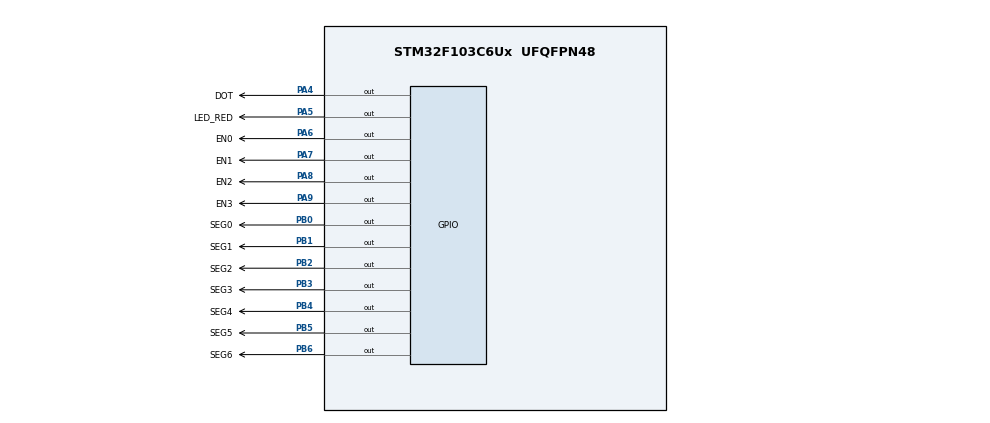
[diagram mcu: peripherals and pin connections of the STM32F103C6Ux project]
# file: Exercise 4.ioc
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Mcu.Family=STM32F1
Mcu.Name=STM32F103C6Ux
Mcu.Package=UFQFPN48
NVIC.PriorityGroup=NVIC_PRIORITYGROUP_4
NVIC.TIM2_IRQn=true\:0\:0\:false\:false\:true\:true\:true
PA4.GPIO_Label=DOT
PA4.Signal=GPIO_Output
PA5.GPIO_Label=LED_RED
PA5.Signal=GPIO_Output
PA6.GPIO_Label=EN0
PA6.Signal=GPIO_Output
PA7.GPIO_Label=EN1
PA7.Signal=GPIO_Output
PA8.GPIO_Label=EN2
PA8.Signal=GPIO_Output
PA9.GPIO_Label=EN3
PA9.Signal=GPIO_Output
PB0.GPIO_Label=SEG0
PB0.Signal=GPIO_Output
PB1.GPIO_Label=SEG1
PB1.Signal=GPIO_Output
PB2.GPIO_Label=SEG2
PB2.Signal=GPIO_Output
PB3.GPIO_Label=SEG3
PB3.Signal=GPIO_Output
PB4.GPIO_Label=SEG4
PB4.Signal=GPIO_Output
PB5.GPIO_Label=SEG5
PB5.Signal=GPIO_Output
PB6.GPIO_Label=SEG6
PB6.Signal=GPIO_Output
ProjectManager.HeapSize=0x200
ProjectManager.StackSize=0x400
ProjectManager.TargetToolchain=STM32CubeIDE
RCC.APB1Freq_Value=8000000
RCC.APB2Freq_Value=8000000
TIM2.Prescaler=7999
VP_SYS_VS_ND.Mode=No_Debug
VP_TIM2_VS_ClockSourceINT.Mode=Internal
board=custom

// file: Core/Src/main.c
/* USER CODE BEGIN Header */
/**
  ******************************************************************************
  * @file           : main.c
  * @brief          : Main program body
  ******************************************************************************
  * @attention
  *
  * <h2><center>&copy; Copyright (c) 2024 STMicroelectronics.
  * All rights reserved.</center></h2>
  *
  * This software component is licensed by ST under BSD 3-Clause license,
  * the "License"; You may not use this file except in compliance with the
  * License. You may obtain a copy of the License at:
  *                        opensource.org/licenses/BSD-3-Clause
  *
  ******************************************************************************
  */
/* USER CODE END Header */
#include "main.h"

TIM_HandleTypeDef htim2;

void SystemClock_Config(void);
static void MX_GPIO_Init(void);
static void MX_TIM2_Init(void);

void display7SEG(int num)
{
switch(num)
{
case 1:
	HAL_GPIO_WritePin(SEG0_GPIO_Port, SEG0_Pin, SET);
	HAL_GPIO_WritePin(SEG1_GPIO_Port, SEG1_Pin, RESET);
	HAL_GPIO_WritePin(SEG2_GPIO_Port, SEG2_Pin, RESET);
	HAL_GPIO_WritePin(SEG4_GPIO_Port, SEG4_Pin, SET);
	HAL_GPIO_WritePin(SEG5_GPIO_Port, SEG5_Pin, SET);
	HAL_GPIO_WritePin(SEG6_GPIO_Port, SEG6_Pin, SET);
	break;
case 2:
	HAL_GPIO_WritePin(SEG0_GPIO_Port, SEG0_Pin, RESET);
	HAL_GPIO_WritePin(SEG1_GPIO_Port, SEG1_Pin, RESET);
	HAL_GPIO_WritePin(SEG2_GPIO_Port, SEG2_Pin, SET);
	HAL_GPIO_WritePin(SEG3_GPIO_Port, SEG3_Pin, RESET);
	HAL_GPIO_WritePin(SEG4_GPIO_Port, SEG4_Pin, RESET);
	HAL_GPIO_WritePin(SEG5_GPIO_Port, SEG5_Pin, SET);
	HAL_GPIO_WritePin(SEG6_GPIO_Port, SEG6_Pin, RESET);
	break;
case 3:
	HAL_GPIO_WritePin(SEG0_GPIO_Port, SEG0_Pin, RESET);
	HAL_GPIO_WritePin(SEG1_GPIO_Port, SEG1_Pin, RESET);
	HAL_GPIO_WritePin(SEG2_GPIO_Port, SEG2_Pin, RESET);
	HAL_GPIO_WritePin(SEG3_GPIO_Port, SEG3_Pin, RESET);
	HAL_GPIO_WritePin(SEG4_GPIO_Port, SEG4_Pin, SET);
	HAL_GPIO_WritePin(SEG5_GPIO_Port, SEG5_Pin, SET);
	HAL_GPIO_WritePin(SEG6_GPIO_Port, SEG6_Pin, RESET);
	break;
case 4:
	HAL_GPIO_WritePin(SEG0_GPIO_Port, SEG0_Pin, SET);
	HAL_GPIO_WritePin(SEG1_GPIO_Port, SEG1_Pin, RESET);
	HAL_GPIO_WritePin(SEG2_GPIO_Port, SEG2_Pin, RESET);
	HAL_GPIO_WritePin(SEG3_GPIO_Port, SEG3_Pin, SET);
	HAL_GPIO_WritePin(SEG4_GPIO_Port, SEG4_Pin, SET);
	HAL_GPIO_WritePin(SEG5_GPIO_Port, SEG5_Pin, RESET);
	HAL_GPIO_WritePin(SEG6_GPIO_Port, SEG6_Pin, RESET);
	break;
}
}

const int MAX_LED = 4;
int led_buffer[4] = {1, 2, 3, 4};
void update7SEG(int num)
{
	switch(num)
	{
	case 0:
		HAL_GPIO_WritePin(EN0_GPIO_Port, EN0_Pin, RESET);
		HAL_GPIO_WritePin(EN1_GPIO_Port, EN1_Pin, SET);
		HAL_GPIO_WritePin(EN2_GPIO_Port, EN2_Pin, SET);
		HAL_GPIO_WritePin(EN3_GPIO_Port, EN3_Pin, SET);
		display7SEG(led_buffer[0]);
		break;
	case 1:
		HAL_GPIO_WritePin(EN0_GPIO_Port, EN0_Pin, SET);
		HAL_GPIO_WritePin(EN1_GPIO_Port, EN1_Pin, RESET);
		HAL_GPIO_WritePin(EN2_GPIO_Port, EN2_Pin, SET);
		HAL_GPIO_WritePin(EN3_GPIO_Port, EN3_Pin, SET);
		display7SEG(led_buffer[1]);
		break;
	case 2:
		HAL_GPIO_WritePin(EN0_GPIO_Port, EN0_Pin, SET);
		HAL_GPIO_WritePin(EN1_GPIO_Port, EN1_Pin, SET);
		HAL_GPIO_WritePin(EN2_GPIO_Port, EN2_Pin, RESET);
		HAL_GPIO_WritePin(EN3_GPIO_Port, EN3_Pin, SET);
		display7SEG(led_buffer[2]);
		break;
	case 3:
		HAL_GPIO_WritePin(EN0_GPIO_Port, EN0_Pin, SET);
		HAL_GPIO_WritePin(EN1_GPIO_Port, EN1_Pin, SET);
		HAL_GPIO_WritePin(EN2_GPIO_Port, EN2_Pin, SET);
		HAL_GPIO_WritePin(EN3_GPIO_Port, EN3_Pin, RESET);
		display7SEG(led_buffer[3]);
		break;
	default:
		break;
	}
}
int main(void)
{

  /* MCU Configuration--------------------------------------------------------*/

  /* Reset of all peripherals, Initializes the Flash interface and the Systick. */
  HAL_Init();

  /* Configure the system clock */
  SystemClock_Config();

  /* Initialize all configured peripherals */
  MX_GPIO_Init();
  MX_TIM2_Init();
  HAL_TIM_Base_Start_IT(&htim2);

  /* Infinite loop */
  while (1)
  {

  }
}

void SystemClock_Config(void)
{
  RCC_OscInitTypeDef RCC_OscInitStruct = {0};
  RCC_ClkInitTypeDef RCC_ClkInitStruct = {0};

  /** Initializes the RCC Oscillators according to the specified parameters
  * in the RCC_OscInitTypeDef structure.
  */
  RCC_OscInitStruct.OscillatorType = RCC_OSCILLATORTYPE_HSI;
  RCC_OscInitStruct.HSIState = RCC_HSI_ON;
  RCC_OscInitStruct.HSICalibrationValue = RCC_HSICALIBRATION_DEFAULT;
  RCC_OscInitStruct.PLL.PLLState = RCC_PLL_NONE;
  if (HAL_RCC_OscConfig(&RCC_OscInitStruct) != HAL_OK)
  {
    Error_Handler();
  }
  /** Initializes the CPU, AHB and APB buses clocks
  */
  RCC_ClkInitStruct.ClockType = RCC_CLOCKTYPE_HCLK|RCC_CLOCKTYPE_SYSCLK
                              |RCC_CLOCKTYPE_PCLK1|RCC_CLOCKTYPE_PCLK2;
  RCC_ClkInitStruct.SYSCLKSource = RCC_SYSCLKSOURCE_HSI;
  RCC_ClkInitStruct.AHBCLKDivider = RCC_SYSCLK_DIV1;
  RCC_ClkInitStruct.APB1CLKDivider = RCC_HCLK_DIV1;
  RCC_ClkInitStruct.APB2CLKDivider = RCC_HCLK_DIV1;

  if (HAL_RCC_ClockConfig(&RCC_ClkInitStruct, FLASH_LATENCY_0) != HAL_OK)
  {
    Error_Handler();
  }
}

static void MX_TIM2_Init(void)
{

  TIM_ClockConfigTypeDef sClockSourceConfig = {0};
  TIM_MasterConfigTypeDef sMasterConfig = {0};

  htim2.Instance = TIM2;
  htim2.Init.Prescaler = 0;
  htim2.Init.CounterMode = TIM_COUNTERMODE_UP;
  htim2.Init.Period = 65535;
  htim2.Init.ClockDivision = TIM_CLOCKDIVISION_DIV1;
  htim2.Init.AutoReloadPreload = TIM_AUTORELOAD_PRELOAD_DISABLE;
  if (HAL_TIM_Base_Init(&htim2) != HAL_OK)
  {
    Error_Handler();
  }
  sClockSourceConfig.ClockSource = TIM_CLOCKSOURCE_INTERNAL;
  if (HAL_TIM_ConfigClockSource(&htim2, &sClockSourceConfig) != HAL_OK)
  {
    Error_Handler();
  }
  sMasterConfig.MasterOutputTrigger = TIM_TRGO_RESET;
  sMasterConfig.MasterSlaveMode = TIM_MASTERSLAVEMODE_DISABLE;
  if (HAL_TIMEx_MasterConfigSynchronization(&htim2, &sMasterConfig) != HAL_OK)
  {
    Error_Handler();
  }

}

static void MX_GPIO_Init(void)
{
  GPIO_InitTypeDef GPIO_InitStruct = {0};

  /* GPIO Ports Clock Enable */
  __HAL_RCC_GPIOA_CLK_ENABLE();
  __HAL_RCC_GPIOB_CLK_ENABLE();

  /*Configure GPIO pin Output Level */
  HAL_GPIO_WritePin(GPIOA, DOT_Pin|LED_RED_Pin|EN0_Pin|EN1_Pin
                          |EN2_Pin|EN3_Pin, GPIO_PIN_RESET);

  /*Configure GPIO pin Output Level */
  HAL_GPIO_WritePin(GPIOB, SEG0_Pin|SEG1_Pin|SEG2_Pin|SEG3_Pin
                          |SEG4_Pin|SEG5_Pin|SEG6_Pin, GPIO_PIN_RESET);

  /*Configure GPIO pins : DOT_Pin LED_RED_Pin EN0_Pin EN1_Pin
                           EN2_Pin EN3_Pin */
  GPIO_InitStruct.Pin = DOT_Pin|LED_RED_Pin|EN0_Pin|EN1_Pin
                          |EN2_Pin|EN3_Pin;
  GPIO_InitStruct.Mode = GPIO_MODE_OUTPUT_PP;
  GPIO_InitStruct.Pull = GPIO_NOPULL;
  GPIO_InitStruct.Speed = GPIO_SPEED_FREQ_LOW;
  HAL_GPIO_Init(GPIOA, &GPIO_InitStruct);

  /*Configure GPIO pins : SEG0_Pin SEG1_Pin SEG2_Pin SEG3_Pin
                           SEG4_Pin SEG5_Pin SEG6_Pin */
  GPIO_InitStruct.Pin = SEG0_Pin|SEG1_Pin|SEG2_Pin|SEG3_Pin
                          |SEG4_Pin|SEG5_Pin|SEG6_Pin;
  GPIO_InitStruct.Mode = GPIO_MODE_OUTPUT_PP;
  GPIO_InitStruct.Pull = GPIO_NOPULL;
  GPIO_InitStruct.Speed = GPIO_SPEED_FREQ_LOW;
  HAL_GPIO_Init(GPIOB, &GPIO_InitStruct);

}

/* USER CODE BEGIN 4 */
int counter = 25;
int counter1 = 100;
int index_led = 0;
void HAL_TIM_PeriodElapsedCallback(TIM_HandleTypeDef *htim)
{
  counter--;
  if(counter <= 0)
  {
	  counter = 25;
	  update7SEG(index_led++);
  }
	  if(index_led > 3)
	  {
		  index_led = 0;
	  }

	  counter1--;
	  if(counter1 <= 0)
	  {
		  counter1 = 100;
		HAL_GPIO_TogglePin(LED_RED_GPIO_Port, LED_RED_Pin);
		HAL_GPIO_TogglePin(DOT_GPIO_Port, DOT_Pin);
	  }
}

//}
/* USER CODE END 4 */

void Error_Handler(void)
{
  __disable_irq();
  while (1)
  {
  }
}

/************************ (C) COPYRIGHT STMicroelectronics *****END OF FILE****/
